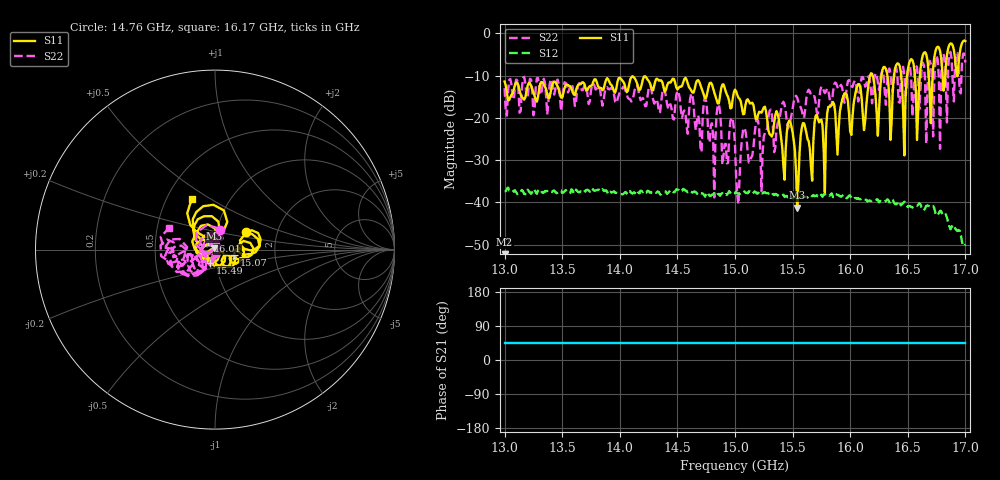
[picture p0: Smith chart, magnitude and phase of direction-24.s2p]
!Keysight Technologies,P9374A,MY57211810,A.19.30.04
!Date: Friday, May 02, 2025 08:59:06
!Correction: S11(Off)
!S21(Off)
!S12(Off)
!S22(Off)
!S2P File: Measurements: S11, S21, S12, S22:
# Hz S  dB  R 50
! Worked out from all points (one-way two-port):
!   401 points, 13 GHz to 17 GHz, reference 50 ohm
!   highest |S21| = - dB at 13 GHz (marker M1); lowest = - dB at 13 GHz (marker M2)
!   lowest |S11| = -41.2 dB at 15.54 GHz (marker M3), VSWR 1.02, Z = 49.4 + j0.635 ohm
!   |S11| at or under -10 dB: start of sweep to 16.17 GHz; 16.19496 GHz to 16.27151 GHz (76.55 MHz wide, 0.472 % of centre); 16.32258 GHz to 16.38016 GHz (57.59 MHz wide, 0.352 % of centre) (the widest 3 of 8)
!   |S22| runs from -40.4 to -4.4 dB; largest |S21 - S12| = 0.015
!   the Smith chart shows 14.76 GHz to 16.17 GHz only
!   S11 on the Smith chart (normalised r, x): 14.76 GHz: 1.38, +0.29; 15.07 GHz: 1.23, -0.08; 15.49 GHz: 0.94, -0.14; 16.01 GHz: 0.92, +0.09; 16.17 GHz: 0.67, +0.41
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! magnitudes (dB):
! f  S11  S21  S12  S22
! 13 GHz  -11.4  -  -37.3  -13.0
! 13.67 GHz  -11.7  -  -37.5  -13.5
! 14.34 GHz  -11.2  -  -37.6  -18.8
! 14.76 GHz  -14.0  -  -37.6  -19.0
! 15 GHz  -13.3  -  -37.8  -26.6
! 15.03 GHz  -15.3  -  -37.9  -40.4
! 15.07 GHz  -19.2  -  -37.7  -22.9
! 15.49 GHz  -22.1  -  -38.6  -19.4
! 15.54 GHz  -41.2  -  -38.8  -15.2
! 15.59 GHz  -21.2  -  -38.8  -19.5
! 15.67 GHz  -34.9  -  -38.5  -15.0
! 15.83 GHz  -17.2  -  -38.1  -17.3
! 16.01 GHz  -24.1  -  -38.9  -12.5
! 16.17 GHz  -10.2  -  -39.6  -11.0
! 16.34 GHz  -15.3  -  -40.0  -8.3
! 16.41 GHz  -7.1  -  -40.3  -10.2
! 16.47 GHz  -28.9  -  -39.8  -10.0
! 16.52 GHz  -6.5  -  -40.8  -7.9
! 16.58 GHz  -25.2  -  -40.7  -8.0
! 16.64 GHz  -4.6  -  -41.9  -7.5
! 16.7 GHz  -21.3  -  -41.1  -7.2
! 17 GHz  -1.9  -  -49.9  -6.9
